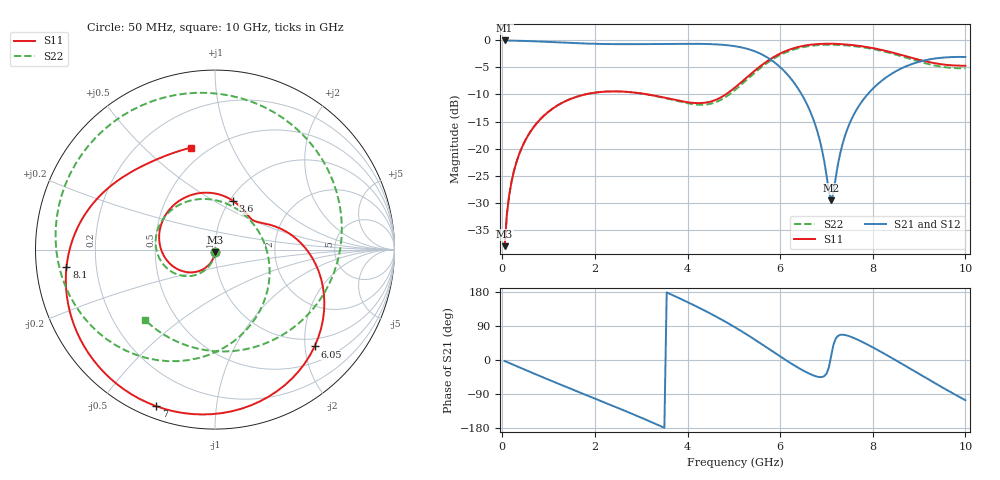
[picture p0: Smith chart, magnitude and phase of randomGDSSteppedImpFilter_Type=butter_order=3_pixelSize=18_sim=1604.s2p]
! freq	dB(S11)	phase(S11)	dB(S12)	phase(S12)
!  dB(S21)	phase(S21)	dB(S22)	phase(S22)
!S-par simulation data
#  GHz  S  DB  R 50
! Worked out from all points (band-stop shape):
!   200 points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, 50 MHz to 10 GHz, reference 50 ohm
!   highest |S21| = 0.00 dB at 50 MHz (marker M1); lowest = -29.6 dB at 7.1 GHz (marker M2)
!   |S21| within 3 dB of the highest: start of sweep to 5.695 GHz
!   lowest |S11| = -38.1 dB at 50 MHz (marker M3), VSWR 1.03, Z = 49.9 - j1.25 ohm
!   |S11| at or under -10 dB: start of sweep to 1.784 GHz; 3.148 GHz to 4.822 GHz (1.674 GHz wide, 42 % of centre)
!   |S22| runs from -38.0 to -0.8 dB; largest |S21 - S12| = 0
!   S11 on the Smith chart (normalised r, x): 50 MHz: 1.00, -0.02; 3.6 GHz: 1.04, +0.62; 6.05 GHz: 0.82, -2.21; 7 GHz: 0.05, -0.69; 8.1 GHz: 0.09, -0.06; 10 GHz: 0.41, +0.71
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0.05  -38.06 -92.5  -0.00 -2.7  -0.00 -2.7  -38.04 -91.9
0.2  -26.12 -101.6  -0.03 -10.6  -0.03 -10.6  -26.11 -99.8
0.5  -18.44 -119.0  -0.10 -26.2  -0.10 -26.2  -18.43 -114.5
1.15  -12.25 -155.4  -0.34 -59.5  -0.34 -59.5  -12.23 -144.6
1.75  -10.07 171.3  -0.56 -89.4  -0.56 -89.4  -10.06 -171.5
2.55  -9.44 126.9  -0.69 -129.1  -0.69 -129.1  -9.44 153.3
3.4  -10.40 80.0  -0.65 -173.5  -0.65 -173.5  -10.45 112.3
3.6  -10.76 69.7  -0.63 175.6  -0.63 175.6  -10.84 100.8
4.25  -11.60 42.8  -0.63 137.8  -0.63 137.8  -11.89 52.1
5.05  -8.53 18.9  -1.11 84.6  -1.11 84.6  -8.99 -32.7
5.6  -4.59 -11.8  -2.57 42.0  -2.57 42.0  -4.92 -88.9
6.05  -2.23 -44.2  -5.35 5.5  -5.35 5.5  -2.49 -131.4
6.7  -0.75 -90.9  -14.21 -39.9  -14.21 -39.9  -0.96 172.6
7  -0.61 -110.5  -24.89 -36.3  -24.89 -36.3  -0.80 148.5
7.1  -0.61 -116.7  -29.59 9.4  -29.59 9.4  -0.80 140.6
7.45  -0.77 -137.6  -16.43 64.5  -16.43 64.5  -0.94 112.9
8.1  -1.59 -173.4  -8.12 26.8  -8.12 26.8  -1.76 58.0
8.35  -2.08 173.9  -6.48 9.6  -6.48 9.6  -2.28 34.8
8.75  -3.00 155.0  -4.67 -18.8  -4.67 -18.8  -3.26 -5.1
9.25  -4.07 134.1  -3.47 -54.7  -3.47 -54.7  -4.47 -58.3
9.6  -4.53 120.2  -3.12 -79.1  -3.12 -79.1  -5.00 -95.4
10  -4.68 103.3  -3.06 -106.1  -3.06 -106.1  -5.15 -135.2
